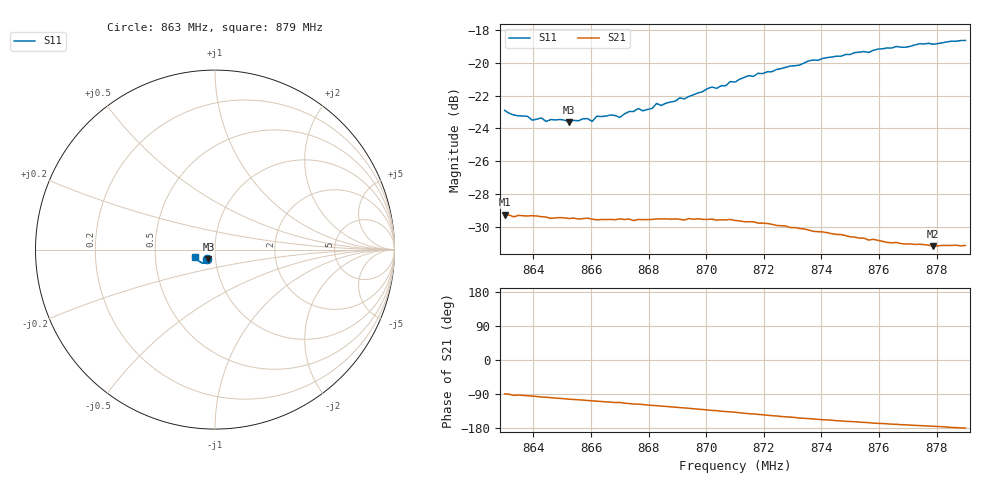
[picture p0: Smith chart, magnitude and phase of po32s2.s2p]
# HZ S RI R 50
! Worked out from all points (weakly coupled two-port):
!   101 points, 863 MHz to 879 MHz, reference 50 ohm
!   highest |S21| = -29.27 dB at 863 MHz (marker M1); lowest = -31.2 dB at 877.88 MHz (marker M2)
!   lowest |S11| = -23.6 dB at 865.24 MHz (marker M3), VSWR 1.14, Z = 46.2 - j5.12 ohm
!   |S11| at or under -10 dB: start of sweep to end of sweep
!   S12 and S22 are empty: the file has one direction only
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8.63e8  -0.0456 -0.0551  0.000394 -0.0344  0 0  0 0
8.6396e8  -0.04 -0.0535  -0.00316 -0.034  0 0  0 0
8.6428e8  -0.039 -0.0556  -0.00462 -0.0336  0 0  0 0
8.6444e8  -0.0389 -0.0536  -0.0048 -0.0335  0 0  0 0
8.6492e8  -0.0382 -0.0552  -0.0066 -0.033  0 0  0 0
8.6524e8  -0.0362 -0.0551  -0.00778 -0.0325  0 0  0 0
8.6572e8  -0.036 -0.0571  -0.00908 -0.0322  0 0  0 0
8.6604e8  -0.0352 -0.0561  -0.0101 -0.0317  0 0  0 0
8.662e8  -0.0367 -0.058  -0.0107 -0.0314  0 0  0 0
8.67e8  -0.0356 -0.0581  -0.0125 -0.0309  0 0  0 0
8.6764e8  -0.0363 -0.0628  -0.0148 -0.0298  0 0  0 0
8.678e8  -0.0355 -0.0619  -0.0153 -0.0294  0 0  0 0
8.6812e8  -0.0353 -0.0634  -0.0165 -0.0288  0 0  0 0
8.6828e8  -0.036 -0.066  -0.017 -0.0287  0 0  0 0
8.6844e8  -0.0359 -0.0648  -0.0175 -0.0284  0 0  0 0
8.702e8  -0.0433 -0.0724  -0.0227 -0.0243  0 0  0 0
8.71e8  -0.0472 -0.0735  -0.0244 -0.0222  0 0  0 0
8.7148e8  -0.0512 -0.0757  -0.0257 -0.0203  0 0  0 0
8.7372e8  -0.0688 -0.0753  -0.0278 -0.0126  0 0  0 0
8.7644e8  -0.0924 -0.0615  -0.0277 -0.00521  0 0  0 0
8.7788e8  -0.1029 -0.049  -0.0274 -0.00245  0 0  0 0
8.79e8  -0.1103 -0.0391  -0.0277 -0.000173  0 0  0 0
